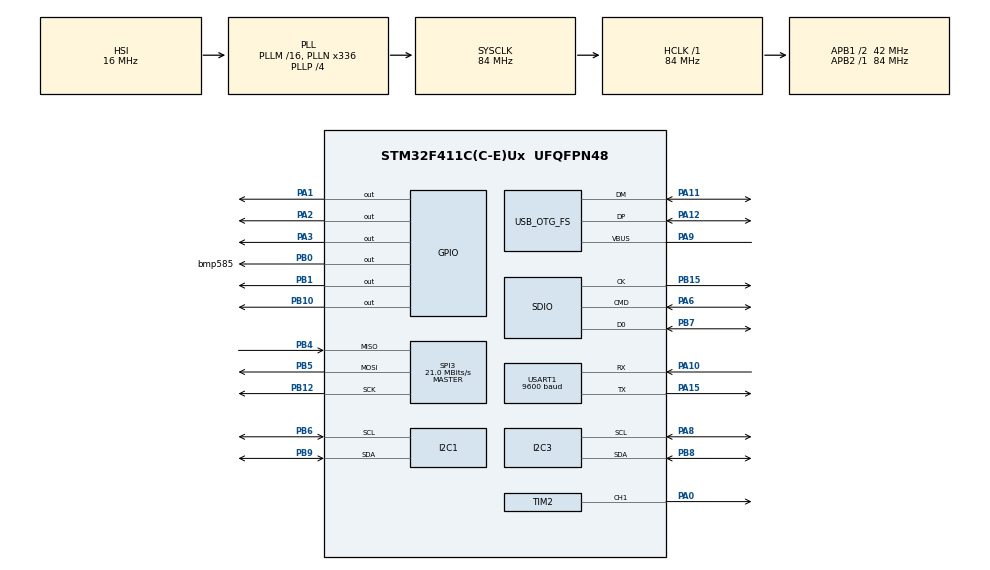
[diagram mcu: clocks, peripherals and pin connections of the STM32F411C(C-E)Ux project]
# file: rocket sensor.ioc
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FATFS.USE_DMA_CODE_SD=1
Mcu.Family=STM32F4
Mcu.Name=STM32F411C(C-E)Ux
Mcu.Package=UFQFPN48
NVIC.OTG_FS_IRQn=true\:0\:0\:false\:false\:true\:false\:true\:true
NVIC.PriorityGroup=NVIC_PRIORITYGROUP_4
PA0-WKUP.Signal=S_TIM2_CH1_ETR
PA1.Signal=GPIO_Output
PA10.Mode=Asynchronous
PA10.Signal=USART1_RX
PA11.Mode=Device_Only
PA11.Signal=USB_OTG_FS_DM
PA12.Mode=Device_Only
PA12.Signal=USB_OTG_FS_DP
PA15.Mode=Asynchronous
PA15.Signal=USART1_TX
PA2.Signal=GPIO_Output
PA3.Signal=GPIO_Output
PA6.Mode=SD_1_bit
PA6.Signal=SDIO_CMD
PA8.Mode=I2C
PA8.Signal=I2C3_SCL
PA9.Mode=Activate_VBUS
PA9.Signal=USB_OTG_FS_VBUS
PB0.GPIO_Label=bmp585
PB0.GPIO_PuPd=GPIO_NOPULL
PB0.Signal=GPIO_Output
PB1.Signal=GPIO_Output
PB10.Signal=GPIO_Output
PB12.Mode=Full_Duplex_Master
PB12.Signal=SPI3_SCK
PB15.Mode=SD_1_bit
PB15.Signal=SDIO_CK
PB4.Mode=Full_Duplex_Master
PB4.Signal=SPI3_MISO
PB5.Mode=Full_Duplex_Master
PB5.Signal=SPI3_MOSI
PB6.Mode=I2C
PB6.Signal=I2C1_SCL
PB7.Mode=SD_1_bit
PB7.Signal=SDIO_D0
PB8.Mode=I2C
PB8.Signal=I2C3_SDA
PB9.Mode=I2C
PB9.Signal=I2C1_SDA
PH0\ -\ OSC_IN.Mode=HSE-External-Oscillator
PH0\ -\ OSC_IN.Signal=RCC_OSC_IN
PH1\ -\ OSC_OUT.Mode=HSE-External-Oscillator
PH1\ -\ OSC_OUT.Signal=RCC_OSC_OUT
ProjectManager.HeapSize=0x600
ProjectManager.StackSize=0x1000
ProjectManager.TargetToolchain=STM32CubeIDE
RCC.48MHZClocksFreq_Value=48000000
RCC.AHBFreq_Value=84000000
RCC.APB1CLKDivider=RCC_HCLK_DIV2
RCC.APB1Freq_Value=42000000
RCC.APB1TimFreq_Value=84000000
RCC.APB2Freq_Value=84000000
RCC.APB2TimFreq_Value=84000000
RCC.CortexFreq_Value=84000000
RCC.HCLKFreq_Value=84000000
RCC.HSE_VALUE=8000000
RCC.HSI_VALUE=16000000
RCC.LSE_VALUE=32768
RCC.PLLM=8
RCC.PLLN=336
RCC.PLLP=RCC_PLLP_DIV4
RCC.PLLQ=7
RCC.SYSCLKFreq_VALUE=84000000
RCC.SYSCLKSource=RCC_SYSCLKSOURCE_PLLCLK
RCC.VCOOutputFreq_Value=336000000
SH.S_TIM2_CH1_ETR.0=TIM2_CH1,PWM Generation1 CH1
SPI3.BaudRatePrescaler=SPI_BAUDRATEPRESCALER_2
SPI3.CLKPhase=SPI_PHASE_2EDGE
SPI3.CLKPolarity=SPI_POLARITY_HIGH
SPI3.CalculateBaudRate=21.0 MBits/s
SPI3.Direction=SPI_DIRECTION_2LINES
SPI3.Mode=SPI_MODE_MASTER
SPI3.VirtualType=VM_MASTER
TIM2.Channel-PWM\ Generation1\ CH1=TIM_CHANNEL_1
USART1.BaudRate=9600
USART1.VirtualMode=VM_ASYNC
USB_DEVICE.CLASS_NAME_FS=CDC
USB_DEVICE.VirtualMode=Cdc
USB_DEVICE.VirtualModeFS=Cdc_FS
USB_OTG_FS.VirtualMode=Device_Only
VP_FATFS_VS_SDIO.Mode=SDIO
VP_TIM2_VS_ClockSourceINT.Mode=Internal
VP_USB_DEVICE_VS_USB_DEVICE_CDC_FS.Mode=CDC_FS
board=custom

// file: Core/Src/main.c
/* USER CODE BEGIN Header */
/**
  ******************************************************************************
  * @file           : main.c
  * @brief          : Main program body (USB CDC + robust clock + IMU test)
  ******************************************************************************
  */
/* USER CODE END Header */
#include "main.h"
#include "fatfs.h"
#include "i2c.h"
#include "sdio.h"
#include "spi.h"
#include "tim.h"
#include "usart.h"
#include "usb_device.h"
#include "gpio.h"

/* USER CODE BEGIN Includes */
#include <stdint.h>
#include <stdio.h>
#include <string.h>
#include <math.h>

#include "imu.h"
#include "lora.h"
#include "gnss.h"
#include "sdcard.h"
#include "logger.h"
#include "bmp585.h"
#include "cmd.h"

/* USB CDC */
#include "usbd_cdc_if.h"
#include "usbd_def.h"
extern uint8_t CDC_Transmit_FS(uint8_t* Buf, uint16_t Len);
extern USBD_HandleTypeDef hUsbDeviceFS;

/* USER CODE END Includes */

/* USER CODE BEGIN PD */
/* ---- 開傘參數（改這裡即可調整） ---- */
#define DEPLOY_PORT     GPIOA
#define DEPLOY_PIN      GPIO_PIN_1
#define LAUNCH_AZ_G  1.3f       /* 離架偵測合加速度閾值 (g) */
#define DEPLOY_ALT_M    850.0f    /* 開傘高度（相對起飛點，m） */
#define DEPLOY_T1_MS    21000UL   /* 主窗口開始 ms */
#define DEPLOY_T2_MS    23000UL   /* 主窗口結束 ms */
#define DEPLOY_TB_MS    25000UL   /* 備援觸發 ms */
#define DEPLOY_PULSE_MS 2000UL    /* GPIO HIGH 持續時間 ms */
#define IMU_ARM_G       1.5f      /* IMU 積分啟動閾值 (g)，測試用可調低 */
#define MAH_2KP         1.0f      /* Mahony 比例增益 × 2 */
#define MAH_2KI         0.01f     /* Mahony 積分增益 × 2 */

/* ---- 氣壓卡爾曼濾波器參數 ---- */
#define KF_Q  0.5f    /* 過程雜訊方差 (hPa²)：越大追蹤越快 */
#define KF_R  0.01f   /* 量測雜訊方差 (hPa²)：BMP585 RMS≈0.03hPa */
/* USER CODE END PD */

/* USER CODE BEGIN PM */
extern UART_HandleTypeDef huart1;  /* USART1: TX=PA15 debug, RX=PA10 GPS @ 9600 */
/* I2C 和 SPI 句柄 */
extern I2C_HandleTypeDef hi2c1;
extern SPI_HandleTypeDef hspi3;

/* USER CODE END PM */

void SystemClock_Config(void);

/* USER CODE BEGIN 0 */

/* ---- 飛行狀態機 ---- */
typedef enum {
    FLIGHT_IDLE,       /* 地面靜置，等待離架 */
    FLIGHT_LAUNCHED,   /* 離架後，監視高度與時間 */
    FLIGHT_DEPLOYING,  /* 開傘訊號輸出中（2 秒） */
    FLIGHT_DEPLOYED    /* 開傘完成 */
} FlightState_t;

static FlightState_t flight_state   = FLIGHT_IDLE;
static uint32_t      launch_time_ms = 0;   /* HAL_GetTick() at launch */
static uint32_t      deploy_time_ms = 0;   /* HAL_GetTick() at deploy */
static float         ref_press      = 1013.25f; /* 地面氣壓，啟動時初始化 */
static float         rel_alt        = 0.0f;     /* 相對高度（m） */

/* =========================
   Debug helpers
   ========================= */
void uart1_write(const char *s)
{
  if (!s) return;
  /* 9600 baud: 280 bytes ≈ 292ms；timeout 設 600ms 確保不截斷 */
  (void)HAL_UART_Transmit(&huart1, (uint8_t*)s, (uint16_t)strlen(s), 600);
}

void cdc_write(const char *s)
{
  if (!s || hUsbDeviceFS.pClassData == NULL) return;
  /* CONFIGURED=3, SUSPENDED=4：兩者都允許傳送 */
  if (hUsbDeviceFS.dev_state < 3U) return;

  const uint8_t *p = (const uint8_t*)s;
  size_t remaining = strlen(s);

  while (remaining > 0)
  {
    uint16_t chunk = (uint16_t)(remaining > 64 ? 64 : remaining);
    /* 重試 3 次，每次間隔 5ms */
    for (int r = 0; r < 3; r++)
    {
      if (CDC_Transmit_FS((uint8_t*)p, chunk) == USBD_OK) break;
      HAL_Delay(5);
    }
    p += chunk;
    remaining -= chunk;
    if (remaining > 0) HAL_Delay(5);
  }
}

/* =========================
   LSM6DSOTR via SPI3, CS = PB1 (active low)
   ========================= */
#define IMU_CS_PORT GPIOB
#define IMU_CS_PIN  GPIO_PIN_1
static inline void IMU_CS_LOW(void)  { HAL_GPIO_WritePin(IMU_CS_PORT, IMU_CS_PIN, GPIO_PIN_RESET); }
static inline void IMU_CS_HIGH(void) { HAL_GPIO_WritePin(IMU_CS_PORT, IMU_CS_PIN, GPIO_PIN_SET);   }

static uint8_t lsm6_read_reg(uint8_t reg)
{
  uint8_t tx[2] = { (uint8_t)(reg | 0x80), 0x00 };
  uint8_t rx[2] = { 0 };
  IMU_CS_LOW();
  (void)HAL_SPI_TransmitReceive(&hspi3, tx, rx, 2, 100);
  IMU_CS_HIGH();
  return rx[1];
}

static void lsm6_write_reg(uint8_t reg, uint8_t val)
{
  uint8_t tx[2] = { (uint8_t)(reg & 0x7F), val };
  IMU_CS_LOW();
  (void)HAL_SPI_Transmit(&hspi3, tx, 2, 100);
  IMU_CS_HIGH();
}

static int lsm6_read_burst(uint8_t start_reg, uint8_t *buf, uint16_t len)
{
  uint8_t tx[32];
  uint8_t rx[32];
  if (len + 1 > sizeof(tx)) return -9;

  tx[0] = (uint8_t)(start_reg | 0x80); // READ only; auto-increment comes from CTRL3_C.IF_INC
  memset(&tx[1], 0x00, len);

  IMU_CS_LOW();
  HAL_StatusTypeDef ok = HAL_SPI_TransmitReceive(&hspi3, tx, rx, (uint16_t)(len + 1), 200);
  IMU_CS_HIGH();

  if (ok != HAL_OK) return -1;
  memcpy(buf, &rx[1], len);
  return 0;
}

static int lsm6_init(void)
{
  HAL_Delay(20);

  uint8_t who = lsm6_read_reg(0x0F);

  if (who != 0x6C) return -10;

  lsm6_write_reg(0x12, 0x01); // SW_RESET
  HAL_Delay(50);

  lsm6_write_reg(0x12, 0x44); // BDU + IF_INC
  lsm6_write_reg(0x10, 0x40); // XL 104Hz, +/-2g
  lsm6_write_reg(0x11, 0x4C); // G  104Hz, 2000dps
  lsm6_write_reg(0x18, 0x38); // CTRL9_XL: enable XL X/Y/Z
  lsm6_write_reg(0x19, 0x38); // CTRL10_C: enable G  X/Y/Z
  return 0;
}

// 讀 0x20 開始：TEMP(2) + G(6) + A(6) ＝ 14 bytes
static int lsm6_read_raw_LSM6DSOTR(int16_t *temp,
                                  int16_t *gx, int16_t *gy, int16_t *gz,
                                  int16_t *ax, int16_t *ay, int16_t *az)
{
  uint8_t d[14] = {0};

  // OUT_TEMP_L = 0x20
  int rr = lsm6_read_burst(0x20, d, 14);
  if (rr != 0) return rr;

  *temp = (int16_t)((d[1]  << 8) | d[0]);   // TEMP
  *gx   = (int16_t)((d[3]  << 8) | d[2]);   // Gx
  *gy   = (int16_t)((d[5]  << 8) | d[4]);   // Gy
  *gz   = (int16_t)((d[7]  << 8) | d[6]);   // Gz
  *ax   = (int16_t)((d[9]  << 8) | d[8]);   // Ax
  *ay   = (int16_t)((d[11] << 8) | d[10]);  // Ay
  *az   = (int16_t)((d[13] << 8) | d[12]);  // Az

  return 0;
}

/* ======================================================
   Mahony 互補濾波器（全局狀態）
   ====================================================== */
static float q0=1.f,q1=0.f,q2=0.f,q3=0.f;   /* 四元數 */
static float mah_ix=0.f,mah_iy=0.f,mah_iz=0.f; /* 積分項 */

static void mahony_update(float ax,float ay,float az,
                          float gx,float gy,float gz,float dt)
{
  float n=sqrtf(ax*ax+ay*ay+az*az);
  if(n<0.001f)return;
  n=1.f/n; ax*=n;ay*=n;az*=n;

  float vx=2.f*(q1*q3-q0*q2);
  float vy=2.f*(q0*q1+q2*q3);
  float vz=q0*q0-q1*q1-q2*q2+q3*q3;

  float ex=ay*vz-az*vy;
  float ey=az*vx-ax*vz;
  float ez=ax*vy-ay*vx;

  mah_ix+=ex*MAH_2KI*dt; mah_iy+=ey*MAH_2KI*dt; mah_iz+=ez*MAH_2KI*dt;
  gx+=MAH_2KP*ex+mah_ix; gy+=MAH_2KP*ey+mah_iy; gz+=MAH_2KP*ez+mah_iz;

  gx*=0.5f*dt; gy*=0.5f*dt; gz*=0.5f*dt;
  float qa=q0,qb=q1,qc=q2;
  q0+=(-qb*gx-qc*gy-q3*gz);
  q1+=(qa*gx+qc*gz-q3*gy);
  q2+=(qa*gy-qb*gz+q3*gx);
  q3+=(qa*gz+qb*gy-qc*gx);

  n=1.f/sqrtf(q0*q0+q1*q1+q2*q2+q3*q3);
  q0*=n;q1*=n;q2*=n;q3*=n;
}

/* 旋轉體座標系加速度到世界系，提取垂直分量（Z軸向上） */
static float world_az(float ax,float ay,float az)
{
  return 2.f*(q1*q3-q0*q2)*ax
        +2.f*(q2*q3+q0*q1)*ay
        +(q0*q0-q1*q1-q2*q2+q3*q3)*az;
}

/* ======================================================
   IMU 積分狀態
   ====================================================== */
static float  az_bias_g   = 0.0f;  /* 靜止時垂直加速度偏差 (g) */
static float  imu_vz      = 0.0f;  /* 垂直速度 (m/s) */
static float  imu_hz      = 0.0f;  /* IMU 估算高度 (m) */
static uint8_t imu_armed  = 0;     /* g > 閾值後鎖定，持續積分 */
static uint32_t g2_count  = 0;     /* 連續 >LAUNCH_AZ_G 的 10ms 計數 */
static uint32_t sd_write_cnt = 0;  /* SD 成功寫入次數 */
static uint8_t  imu_ok    = 0;     /* IMU 初始化是否成功 */

/* ======================================================
   氣壓計 Kalman 濾波器
   ====================================================== */
static float kf_p_est  = 1013.25f;  /* 估計氣壓 */
static float kf_p_err  = 1.0f;      /* 估計誤差 */

static float kf_update(float meas)
{
  kf_p_err += KF_Q;
  float K = kf_p_err / (kf_p_err + KF_R);
  kf_p_est += K * (meas - kf_p_est);
  kf_p_err *= (1.f - K);
  return kf_p_est;
}

/* USER CODE END 0 */

int main(void)
{

  /* MCU Configuration--------------------------------------------------------*/

  /* Reset of all peripherals, Initializes the Flash interface and the Systick. */
  HAL_Init();

  /* Configure the system clock */
  SystemClock_Config();

  /* USER CODE BEGIN SysInit */
  /* ── 提前啟動 USB（時鐘完成後立刻，早於 USART/TIM/SPI/I2C init）──
   * 若後續任何 init 失敗進入 Error_Handler，USB IRQ 仍持續運作，
   * COM4 不會消失，方便診斷。
   * usb_device.c 內有 guard，防止 CubeMX 生成的第二次呼叫重複初始化。 */
  MX_GPIO_Init();           /* USB D+/D- (PA11/PA12) 需要 GPIOA 時鐘  */
  MX_USB_DEVICE_Init();     /* 先啟動 USB CDC                          */
  HAL_Delay(500);           /* 給 Windows 500ms 開始枚舉               */
  /* USER CODE END SysInit */

  /* Initialize all configured peripherals */
  MX_GPIO_Init();
  MX_SDIO_SD_Init();
  MX_USART1_UART_Init();
  MX_TIM2_Init();
  MX_SPI3_Init();
  MX_USB_DEVICE_Init();
  MX_I2C1_Init();
  MX_I2C3_Init();
  MX_FATFS_Init();
  /* USER CODE BEGIN 2 */

  /* 開傘輸出腳預設低 */
  HAL_GPIO_WritePin(DEPLOY_PORT, DEPLOY_PIN, GPIO_PIN_RESET);

  /* 等 USB CDC 完整枚舉（1000ms 確保 COM port 出現後才開始用 CDC）*/
  HAL_Delay(1000);

  /* IMU 初始化（快速，~70ms）*/
  imu_ok = (lsm6_init() == 0) ? 1 : 0;

  /* BMP585 初始化 */
  { uint8_t bmp_id = BMP585_Init(&hspi3);
    char b[48];
    snprintf(b,sizeof(b),"BMP: %s chip_id=0x%02X\r\n",bmp_id?"OK":"FAIL",bmp_id);
    uart1_write(b); cdc_write(b); }

  /* 取地面氣壓基準（快速單次讀取，不做長時間平均）*/
  { float p = BMP585_ReadPressure();
    if(p>800.f&&p<1100.f){ ref_press=p; kf_p_est=p; }
    char b[48];
    snprintf(b,sizeof(b),"REF_PRESS=%.2f hPa\r\n",ref_press);
    uart1_write(b); cdc_write(b); }

  /* GNSS 初始化（PA10=USART1_RX @ 9600 baud）*/
  GNSS_Init(&huart1);

  /* ── 阻塞式 Az 偏差校準（正確公式）──────────────────────────────
   * 步驟 1：讓 Mahony 收斂 1 秒（100 次 × 10ms），四元數趨於穩定
   * 步驟 2：再取 100 次 world_az() 平均，計算偏差
   * 正確公式：az_bias_g = mean(world_az_stationary) - 1.0f
   *   → 靜止時 lin_az = (world_az - az_bias_g - 1.0) * g = 0
   * 【注意】舊公式錯誤地把 mean(raw_az)≈1.0 存入，
   *         導致 lin_az 永遠 ≈ -9.8 m/s²，imu_hz 直線下沉。 */
  if (imu_ok) {
    /* --- 收斂階段（1 秒）--- */
    for (int ci = 0; ci < 100; ci++) {
      HAL_Delay(10);
      int16_t rt,rgx,rgy,rgz,rax,ray,raz;
      if (lsm6_read_raw_LSM6DSOTR(&rt,&rgx,&rgy,&rgz,&rax,&ray,&raz)==0) {
        float a_x=rax/16384.f, a_y=ray/16384.f, a_z=raz/16384.f;
        float g_x=rgx/14.286f*0.017453293f;
        float g_y=rgy/14.286f*0.017453293f;
        float g_z=rgz/14.286f*0.017453293f;
        mahony_update(a_x,a_y,a_z,g_x,g_y,g_z,0.01f);
      }
    }
    /* --- 校準階段（1 秒，取 world_az 平均）--- */
    float bias_sum2 = 0.f; int bias_cnt2 = 0;
    for (int ci = 0; ci < 100; ci++) {
      HAL_Delay(10);
      int16_t rt,rgx,rgy,rgz,rax,ray,raz;
      if (lsm6_read_raw_LSM6DSOTR(&rt,&rgx,&rgy,&rgz,&rax,&ray,&raz)==0) {
        float a_x=rax/16384.f, a_y=ray/16384.f, a_z=raz/16384.f;
        float g_x=rgx/14.286f*0.017453293f;
        float g_y=rgy/14.286f*0.017453293f;
        float g_z=rgz/14.286f*0.017453293f;
        mahony_update(a_x,a_y,a_z,g_x,g_y,g_z,0.01f);
        bias_sum2 += world_az(a_x,a_y,a_z);
        bias_cnt2++;
      }
    }
    if (bias_cnt2 > 0) {
      az_bias_g = (bias_sum2 / (float)bias_cnt2) - 1.0f; /* 正確：偏差量 ≈ 0 */
      char b[64];
      snprintf(b,sizeof(b),"AZ_BIAS=%.5f g (n=%d)\r\n",az_bias_g,bias_cnt2);
      uart1_write(b); cdc_write(b);
    }
  }

  /* USER CODE END 2 */

  /* Infinite loop */
  /* USER CODE BEGIN WHILE */
  uint32_t t_imu=0,t_bmp=0,t_out=0,t_sd_init=0;
  uint8_t  sd_init_done=0;
  float ax=0,ay=0,az=1,gx=0,gy=0,gz=0;
  float press=ref_press, alt=0, total_g=1;
  float tc=25.f; (void)tc; /* 氣壓版：溫度不輸出，抑制 warning */

  uint8_t cf_init  = 0;   /* 互補濾波器初始化旗標 */
  while (1)
  {
    /* USER CODE END WHILE */

    /* USER CODE BEGIN 3 */
    uint32_t now = HAL_GetTick();

    /* 指令系統 */
    cmd_execute_pending();
    cmd_flush_echo();

    /* SD 卡延遲初始化：啟動 3 秒後 */
    if (!sd_init_done && (now - t_sd_init) >= 3000) {
      sd_init_done = 1;
      logger_init();
    }

    /* ---- IMU 每 10ms ---- */
    if (now - t_imu >= 10) {
      float dt = (float)(now - t_imu) * 0.001f;
      if (dt > 0.05f) dt = 0.05f;   /* 限制首次大 dt，防止跳躍 */
      t_imu = now;

      int16_t raw_t,raw_gx,raw_gy,raw_gz,raw_ax,raw_ay,raw_az;
      if (lsm6_read_raw_LSM6DSOTR(&raw_t,&raw_gx,&raw_gy,&raw_gz,
                                   &raw_ax,&raw_ay,&raw_az) == 0) {
        ax = (float)raw_ax / 16384.f;
        ay = (float)raw_ay / 16384.f;
        az = (float)raw_az / 16384.f;
        float deg2rad = 0.017453293f;
        gx = (float)raw_gx / 14.286f * deg2rad;
        gy = (float)raw_gy / 14.286f * deg2rad;
        gz = (float)raw_gz / 14.286f * deg2rad;
        tc = (float)raw_t / 256.f + 25.f;
        total_g = sqrtf(ax*ax+ay*ay+az*az);

        mahony_update(ax,ay,az,gx,gy,gz,dt);

        /* 發射偵測：total_g > 閾值持續 200ms */
        if (total_g >= LAUNCH_AZ_G) {
          g2_count++;
          if (!imu_armed && g2_count >= 20) {
            imu_armed      = 1;
            launch_time_ms = now;
            flight_state   = FLIGHT_LAUNCHED;
            imu_hz = 0.0f; imu_vz = 0.0f; /* 以起飛點為零點重置 */
          }
        } else {
          if (!imu_armed) g2_count = 0;
        }

        /* ── 積分垂直速度/高度 ──────────────────────────────────────
         * lin_az = (world_az - az_bias_g - 1.0) * g
         *   az_bias_g ≈ 0（校準後的小量感測器偏差）
         *   world_az stationary ≈ 1.0 → lin_az ≈ 0（正確）
         *
         * 靜止阻尼（分級）：
         *   |g-1| < 8%  → 強衰減 τ≈0.15s（幾乎靜止）
         *   |g-1| < 20% → 弱衰減 τ≈1.0s（微晃動）
         *   |g-1| ≥ 20% → 不衰減（飛行中/自由落體）
         * ──────────────────────────────────────────────────────── */
        if (imu_armed) {
          float az_w   = world_az(ax,ay,az) - az_bias_g;
          float lin_az = (az_w - 1.0f) * 9.80665f;
          imu_vz += lin_az * dt;
          imu_hz += imu_vz * dt;

          float g_dev = fabsf(total_g - 1.0f);
          if      (g_dev < 0.08f) imu_vz *= (1.0f - dt / 0.15f); /* 強衰減 */
          else if (g_dev < 0.20f) imu_vz *= (1.0f - dt / 1.0f);  /* 弱衰減 */
          /* else: 飛行中，不衰減 */
        }
      }
    }

    /* ---- BMP585 每 200ms + 互補濾波器修正 ---- */
    if (now - t_bmp >= 200) {
      float dt_baro = (float)(now - t_bmp) * 0.001f;
      if (dt_baro > 0.5f) dt_baro = 0.5f;
      t_bmp = now;
      float p_raw = BMP585_ReadPressure();
      if (p_raw > 800.f && p_raw < 1100.f) {
        press = kf_update(p_raw);
        alt   = 44330.f*(1.f-powf(press/1013.25f,0.1903f));
        rel_alt = 44330.f*(1.f-powf(press/ref_press,0.1903f));

        /* ── 互補濾波器（觀測器形式）──────────────────────────────
         * IMU：短期準、長期漂移（積分誤差累積）
         * 氣壓：長期準、短期雜訊；高速時受氣動壓影響
         *
         * 誤差 = baro_alt - imu_hz
         * 位置修正：imu_hz += Kp * err
         * 速度修正：imu_vz += Ki * err / dt
         *
         * 增益依 G 值切換：
         *   高G (>2g, 推進段) → 氣壓受動壓影響大，少修正
         *   低G (<2g, 滑翔/降落) → 氣壓可信，多修正
         * ──────────────────────────────────────────────────────── */
        if (!cf_init) { cf_init = 1; }

        if (!imu_armed) {
          /* 未發射：高度歸零，速度清除 */
          imu_hz = 0.0f; imu_vz = 0.0f;
        } else {
          float err  = rel_alt - imu_hz;
          float kp   = (total_g > 2.0f) ? 0.02f : 0.25f;  /* 位置增益 */
          float ki   = (total_g > 2.0f) ? 0.01f : 0.10f;  /* 速度增益 */
          imu_hz += kp * err;
          imu_vz += ki * err / dt_baro;
        }
      }
    }

    /* ---- 開傘邏輯 ---- */
    if (flight_state == FLIGHT_LAUNCHED) {
      uint32_t t_fly = now - launch_time_ms;
      if (rel_alt >= DEPLOY_ALT_M || t_fly >= DEPLOY_T1_MS) {
        flight_state = FLIGHT_DEPLOYING;
        deploy_time_ms = now;
        HAL_GPIO_WritePin(DEPLOY_PORT, DEPLOY_PIN, GPIO_PIN_SET);
      }
    }
    if (flight_state == FLIGHT_DEPLOYING && (now - deploy_time_ms) >= 2000) {
      HAL_GPIO_WritePin(DEPLOY_PORT, DEPLOY_PIN, GPIO_PIN_RESET);
      flight_state = FLIGHT_DEPLOYED;
    }

    /* ---- UART/CDC 輸出每 500ms ---- */
    if (now - t_out >= 500) {
      t_out = now;
      HAL_GPIO_TogglePin(GPIOA, GPIO_PIN_2);

      (void)GNSS_GetData(); /* 氣壓版：不使用 GNSS 資料 */

      /* ── 氣壓 project 閹割版：只輸出 BMP585 高度 ── */
      char b[320]; int n;
      n=snprintf(b,sizeof(b),
        "T=%-7lu P=%7.2f H=%6.1f RelH=%6.1f\r\n",
        (unsigned long)now,
        press, alt, rel_alt);

      if(n>0&&n<(int)sizeof(b)){
        /* SD 寫入（不受打字暫停影響）*/
        if(logger_is_ready()){
          UINT bw_sd=0;
          FRESULT fw=f_write(&file,b,(UINT)n,&bw_sd);
          if(fw==FR_OK&&bw_sd==(UINT)n){ f_sync(&file); sd_write_cnt++; }
          else{
            static uint8_t sd_err_cnt=0;
            if(sd_err_cnt<5){
              char e[64];
              snprintf(e,sizeof(e),"SD_ERR fw=%d bw=%u n=%d\r\n",(int)fw,(unsigned)bw_sd,n);
              uart1_write(e); cdc_write(e); sd_err_cnt++;
            }
          }
        }
        /* UART/CDC（打字中暫停）*/
        if(!cmd_is_typing()){ uart1_write(b); cdc_write(b); }
      }
    }
  }
  /* USER CODE END 3 */
}

void SystemClock_Config(void)
{
  RCC_OscInitTypeDef RCC_OscInitStruct = {0};
  RCC_ClkInitTypeDef RCC_ClkInitStruct = {0};

  __HAL_RCC_PWR_CLK_ENABLE();
  __HAL_PWR_VOLTAGESCALING_CONFIG(PWR_REGULATOR_VOLTAGE_SCALE1);

  /* ---- 直接使用 HSI 16 MHz（自製 PCB 無 HSE 晶振）----
   * HSI = 16 MHz → /16 → 1 MHz ref → ×336 = 336 MHz VCO
   * PLLP /4 = 84 MHz SYSCLK，PLLQ /7 = 48 MHz USB clock           */
  RCC_OscInitStruct.OscillatorType      = RCC_OSCILLATORTYPE_HSI;
  RCC_OscInitStruct.HSIState            = RCC_HSI_ON;
  RCC_OscInitStruct.HSICalibrationValue = RCC_HSICALIBRATION_DEFAULT;
  RCC_OscInitStruct.PLL.PLLState        = RCC_PLL_ON;
  RCC_OscInitStruct.PLL.PLLSource       = RCC_PLLSOURCE_HSI;
  RCC_OscInitStruct.PLL.PLLM            = 16;
  RCC_OscInitStruct.PLL.PLLN            = 336;
  RCC_OscInitStruct.PLL.PLLP            = RCC_PLLP_DIV4;
  RCC_OscInitStruct.PLL.PLLQ            = 7;

  if (HAL_RCC_OscConfig(&RCC_OscInitStruct) != HAL_OK)
  {
    Error_Handler();
  }

  /* ---- Bus clocks ---- */
  RCC_ClkInitStruct.ClockType      = RCC_CLOCKTYPE_HCLK | RCC_CLOCKTYPE_SYSCLK
                                   | RCC_CLOCKTYPE_PCLK1 | RCC_CLOCKTYPE_PCLK2;
  RCC_ClkInitStruct.SYSCLKSource   = RCC_SYSCLKSOURCE_PLLCLK;
  RCC_ClkInitStruct.AHBCLKDivider  = RCC_SYSCLK_DIV1;
  RCC_ClkInitStruct.APB1CLKDivider = RCC_HCLK_DIV2;
  RCC_ClkInitStruct.APB2CLKDivider = RCC_HCLK_DIV1;

  if (HAL_RCC_ClockConfig(&RCC_ClkInitStruct, FLASH_LATENCY_2) != HAL_OK)
  {
    Error_Handler();
  }
}

void Error_Handler(void)
{
  /* USER CODE BEGIN Error_Handler_Debug */
  /* 不呼叫 __disable_irq() — 保持 USB 中斷存活，COM4 才不會消失
   * 改用 LED 快閃示警（PA2 = LED，Low 點亮，High 熄滅）          */
  while (1)
  {
    HAL_GPIO_TogglePin(GPIOA, GPIO_PIN_2);
    HAL_Delay(100);   /* 快閃 5Hz → 表示 Error_Handler 被呼叫 */
  }
  /* USER CODE END Error_Handler_Debug */
}
